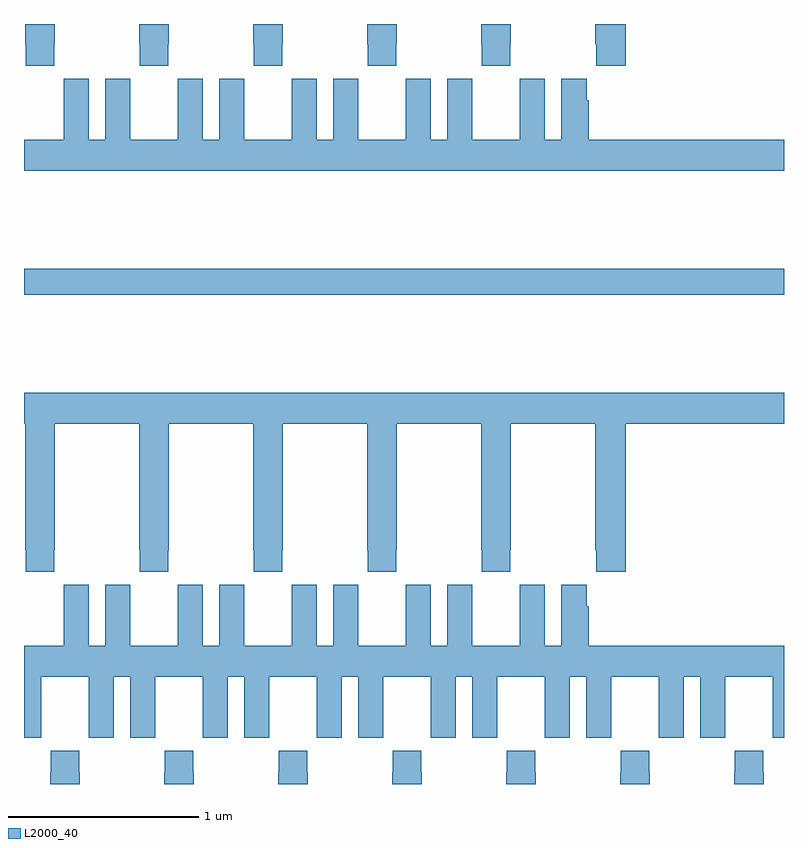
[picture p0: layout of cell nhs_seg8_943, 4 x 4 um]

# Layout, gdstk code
import gdstk
lib = gdstk.Library(unit=1e-6, precision=1e-09)
def R(c, l, rs):  # rectangles x0, y0, x1, y1
    for r in rs: c.add(gdstk.rectangle(r[:2], r[2:], *l))
def P(c, l, *ps):  # polygons
    for p in ps: c.add(gdstk.Polygon(p, *l))
L2000_40 = (2000, 40)

nhs_seg8_943 = lib.new_cell('nhs_seg8_943')
R(nhs_seg8_943, L2000_40, [(171,1154.476,175,1154.612)])
P(nhs_seg8_943, L2000_40, [(171.159,1155.793),(171.162,1155.793),(171.162,1155.9),(171.007,1155.9),(171.007,1155.793),(171.009,1155.793),(171.009,1155.681),(171.159,1155.681)],
  [(172.807,1155.793),(172.809,1155.793),(172.809,1155.681),(172.959,1155.681),(172.959,1155.793),(172.962,1155.793),(172.962,1155.9),(172.807,1155.9)],
  [(172.359,1155.793),(172.362,1155.793),(172.362,1155.9),(172.207,1155.9),(172.207,1155.793),(172.209,1155.793),(172.209,1155.681),(172.359,1155.681)],
  [(174.167,1155.9),(174.007,1155.9),(174.007,1155.793),(174.013,1155.793),(174.013,1155.681),(174.167,1155.681)],
  [(173.559,1155.793),(173.562,1155.793),(173.562,1155.9),(173.407,1155.9),(173.407,1155.793),(173.409,1155.793),(173.409,1155.681),(173.559,1155.681)],
  [(171.759,1155.793),(171.762,1155.793),(171.762,1155.9),(171.607,1155.9),(171.607,1155.793),(171.609,1155.793),(171.609,1155.681),(171.759,1155.681)],
  [(175,1155.292),(173.972,1155.292),(173.972,1155.5),(173.962,1155.5),(173.962,1155.613),(173.828,1155.613),(173.828,1155.292),(173.74,1155.292),(173.74,1155.613),(173.61,1155.613),(173.61,1155.5),(173.609,1155.5),(173.609,1155.292),(173.359,1155.292),(173.359,1155.5),(173.358,1155.5),(173.358,1155.613),(173.228,1155.613),(173.228,1155.292),(173.14,1155.292),(173.14,1155.613),(173.01,1155.613),(173.01,1155.5),(173.009,1155.5),(173.009,1155.292),(172.759,1155.292),(172.759,1155.5),(172.758,1155.5),(172.758,1155.613),(172.628,1155.613),(172.628,1155.292),(172.54,1155.292),(172.54,1155.613),(172.41,1155.613),(172.41,1155.5),(172.409,1155.5),(172.409,1155.292),(172.159,1155.292),(172.159,1155.5),(172.158,1155.5),(172.158,1155.613),(172.028,1155.613),(172.028,1155.292),(171.94,1155.292),(171.94,1155.613),(171.81,1155.613),(171.81,1155.5),(171.809,1155.5),(171.809,1155.292),(171.559,1155.292),(171.559,1155.5),(171.558,1155.5),(171.558,1155.613),(171.428,1155.613),(171.428,1155.292),(171.34,1155.292),(171.34,1155.613),(171.21,1155.613),(171.21,1155.5),(171.209,1155.5),(171.209,1155.292),(171,1155.292),(171,1155.128),(175,1155.128)],
  [(171,1153.796),(171.007,1153.796),(171.007,1153.129),(171.009,1153.129),(171.009,1153.017),(171.159,1153.017),(171.159,1153.129),(171.162,1153.129),(171.162,1153.796),(171.607,1153.796),(171.607,1153.129),(171.609,1153.129),(171.609,1153.017),(171.759,1153.017),(171.759,1153.129),(171.762,1153.129),(171.762,1153.796),(172.207,1153.796),(172.207,1153.129),(172.209,1153.129),(172.209,1153.017),(172.359,1153.017),(172.359,1153.129),(172.362,1153.129),(172.362,1153.796),(172.807,1153.796),(172.807,1153.129),(172.809,1153.129),(172.809,1153.017),(172.959,1153.017),(172.959,1153.129),(172.962,1153.129),(172.962,1153.796),(173.407,1153.796),(173.407,1153.129),(173.409,1153.129),(173.409,1153.017),(173.559,1153.017),(173.559,1153.129),(173.562,1153.129),(173.562,1153.796),(174.007,1153.796),(174.007,1153.129),(174.013,1153.129),(174.013,1153.017),(174.167,1153.017),(174.167,1153.796),(175,1153.796),(175,1153.96),(171,1153.96)],
  [(171.559,1152.836),(171.558,1152.836),(171.558,1152.949),(171.428,1152.949),(171.428,1152.628),(171.34,1152.628),(171.34,1152.949),(171.21,1152.949),(171.21,1152.836),(171.209,1152.836),(171.209,1152.628),(171,1152.628),(171,1152.144),(171.09,1152.144),(171.09,1152.256),(171.091,1152.256),(171.091,1152.464),(171.341,1152.464),(171.341,1152.256),(171.342,1152.256),(171.342,1152.144),(171.472,1152.144),(171.472,1152.464),(171.56,1152.464),(171.56,1152.144),(171.69,1152.144),(171.69,1152.256),(171.691,1152.256),(171.691,1152.464),(171.941,1152.464),(171.941,1152.256),(171.942,1152.256),(171.942,1152.144),(172.072,1152.144),(172.072,1152.464),(172.16,1152.464),(172.16,1152.144),(172.29,1152.144),(172.29,1152.256),(172.291,1152.256),(172.291,1152.464),(172.541,1152.464),(172.541,1152.256),(172.542,1152.256),(172.542,1152.144),(172.672,1152.144),(172.672,1152.464),(172.76,1152.464),(172.76,1152.144),(172.89,1152.144),(172.89,1152.256),(172.891,1152.256),(172.891,1152.464),(173.141,1152.464),(173.141,1152.256),(173.142,1152.256),(173.142,1152.144),(173.272,1152.144),(173.272,1152.464),(173.36,1152.464),(173.36,1152.144),(173.49,1152.144),(173.49,1152.256),(173.491,1152.256),(173.491,1152.464),(173.741,1152.464),(173.741,1152.256),(173.742,1152.256),(173.742,1152.144),(173.872,1152.144),(173.872,1152.464),(173.96,1152.464),(173.96,1152.144),(174.09,1152.144),(174.09,1152.256),(174.091,1152.256),(174.091,1152.464),(174.341,1152.464),(174.341,1152.256),(174.342,1152.256),(174.342,1152.144),(174.472,1152.144),(174.472,1152.464),(174.56,1152.464),(174.56,1152.144),(174.69,1152.144),(174.69,1152.256),(174.691,1152.256),(174.691,1152.464),(174.941,1152.464),(174.941,1152.256),(174.942,1152.256),(174.942,1152.144),(175,1152.144),(175,1152.628),(173.972,1152.628),(173.972,1152.836),(173.962,1152.836),(173.962,1152.949),(173.828,1152.949),(173.828,1152.628),(173.74,1152.628),(173.74,1152.949),(173.61,1152.949),(173.61,1152.836),(173.609,1152.836),(173.609,1152.628),(173.359,1152.628),(173.359,1152.836),(173.358,1152.836),(173.358,1152.949),(173.228,1152.949),(173.228,1152.628),(173.14,1152.628),(173.14,1152.949),(173.01,1152.949),(173.01,1152.836),(173.009,1152.836),(173.009,1152.628),(172.759,1152.628),(172.759,1152.836),(172.758,1152.836),(172.758,1152.949),(172.628,1152.949),(172.628,1152.628),(172.54,1152.628),(172.54,1152.949),(172.41,1152.949),(172.41,1152.836),(172.409,1152.836),(172.409,1152.628),(172.159,1152.628),(172.159,1152.836),(172.158,1152.836),(172.158,1152.949),(172.028,1152.949),(172.028,1152.628),(171.94,1152.628),(171.94,1152.949),(171.81,1152.949),(171.81,1152.836),(171.809,1152.836),(171.809,1152.628),(171.559,1152.628)],
  [(172.941,1151.963),(172.939,1151.963),(172.939,1151.9),(173.094,1151.9),(173.094,1151.963),(173.091,1151.963),(173.091,1152.076),(172.941,1152.076)],
  [(173.694,1151.963),(173.691,1151.963),(173.691,1152.076),(173.541,1152.076),(173.541,1151.963),(173.539,1151.963),(173.539,1151.9),(173.694,1151.9)],
  [(174.294,1151.963),(174.291,1151.963),(174.291,1152.076),(174.141,1152.076),(174.141,1151.963),(174.139,1151.963),(174.139,1151.9),(174.294,1151.9)],
  [(174.894,1151.963),(174.891,1151.963),(174.891,1152.076),(174.741,1152.076),(174.741,1151.963),(174.739,1151.963),(174.739,1151.9),(174.894,1151.9)],
  [(172.494,1151.963),(172.491,1151.963),(172.491,1152.076),(172.341,1152.076),(172.341,1151.963),(172.339,1151.963),(172.339,1151.9),(172.494,1151.9)],
  [(171.894,1151.963),(171.891,1151.963),(171.891,1152.076),(171.741,1152.076),(171.741,1151.963),(171.739,1151.963),(171.739,1151.9),(171.894,1151.9)],
  [(171.294,1151.963),(171.291,1151.963),(171.291,1152.076),(171.141,1152.076),(171.141,1151.963),(171.139,1151.963),(171.139,1151.9),(171.294,1151.9)])

lib.write_gds('nhs_seg8_943.gds')
